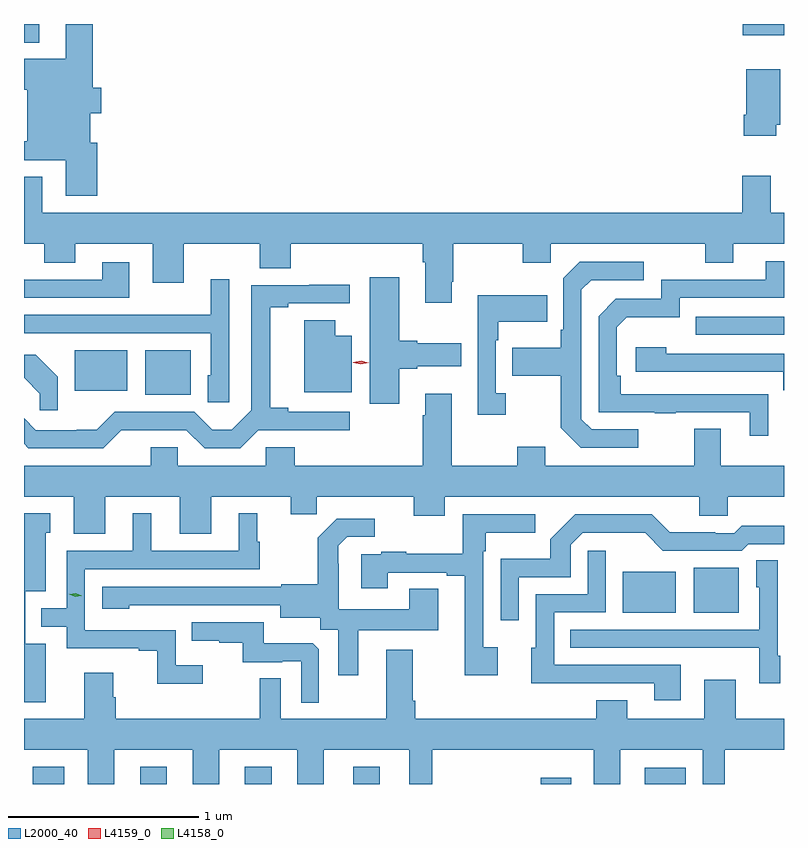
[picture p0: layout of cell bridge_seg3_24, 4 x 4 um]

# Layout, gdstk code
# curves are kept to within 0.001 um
import gdstk
lib = gdstk.Library(unit=1e-6, precision=1e-09)
def R(c, l, rs):  # rectangles x0, y0, x1, y1
    for r in rs: c.add(gdstk.rectangle(r[:2], r[2:], *l))
def P(c, l, *ps):  # polygons
    for p in ps: c.add(gdstk.Polygon(p, *l))
L2000_40 = (2000, 40)
L4158_0 = (4158, 0)
L4159_0 = (4159, 0)

bridge_seg3_24 = lib.new_cell('bridge_seg3_24')
R(bridge_seg3_24, L2000_40, [(721.253,739.365,721.417,739.456), (721.817,739.365,721.957,739.456), (722.369,739.365,722.509,739.456), (722.939,739.365,723.079,739.456), (723.926,739.365,724.087,739.399), (724.473,739.365,724.69,739.45), (724.358,740.267,724.636,740.482), (724.73,740.267,724.969,740.503), (721.844,741.413,722.083,741.649), (721.472,741.434,721.75,741.649), (724.741,741.729,725.206,741.825), (721.206,743.267,721.285,743.365), (724.989,743.307,725.206,743.365)])
P(bridge_seg3_24, L2000_40, [(721.592,742.74),(721.555,742.74),(721.555,742.895),(721.612,742.895),(721.612,743.03),(721.568,743.03),(721.568,743.365),(721.427,743.365),(721.427,743.182),(721.206,743.182),(721.206,743.018),(721.223,743.018),(721.223,742.748),(721.206,742.748),(721.206,742.647),(721.427,742.647),(721.427,742.461),(721.592,742.461)],
  [(725.164,742.836),(725.185,742.836),(725.185,743.128),(725.006,743.128),(725.006,742.888),(724.994,742.888),(724.994,742.776),(725.164,742.776)],
  [(721.303,742.562),(721.206,742.562),(721.206,742.208),(721.313,742.208),(721.313,742.109),(721.477,742.109),(721.477,742.208),(721.883,742.208),(721.883,742.002),(722.047,742.002),(722.047,742.208),(722.447,742.208),(722.447,742.08),(722.611,742.08),(722.611,742.208),(723.305,742.208),(723.305,742.112),(723.317,742.112),(723.317,741.897),(723.457,741.897),(723.457,742.009),(723.465,742.009),(723.465,742.208),(723.832,742.208),(723.832,742.109),(723.978,742.109),(723.978,742.208),(724.792,742.208),(724.792,742.109),(724.939,742.109),(724.939,742.208),(725.206,742.208),(725.206,742.372),(725.137,742.372),(725.137,742.567),(724.985,742.567),(724.985,742.372),(721.303,742.372)],
  [(725.123,741.416),(724.346,741.417),(724.346,741.514),(724.326,741.514),(724.326,741.768),(724.379,741.821),(724.656,741.821),(724.656,741.924),(725.206,741.924),(725.206,742.116),(725.111,742.116),(725.111,742.02),(724.56,742.02),(724.56,741.918),(724.32,741.918),(724.23,741.828),(724.23,741.321),(724.525,741.321),(724.525,741.316),(724.637,741.316),(724.637,741.321),(725.027,741.321),(725.027,741.198),(725.123,741.198)],
  [(724.438,741.231),(724.194,741.231),(724.14,741.285),(724.14,741.966),(724.191,742.017),(724.468,742.017),(724.468,742.113),(724.131,742.113),(724.044,742.026),(724.044,741.757),(724.032,741.757),(724.032,741.661),(723.775,741.661),(723.775,741.514),(724.032,741.514),(724.032,741.241),(724.137,741.135),(724.438,741.135)],
  [(721.759,742.111),(721.619,742.111),(721.619,742.02),(721.207,742.02),(721.207,742.022),(721.206,742.022),(721.206,741.924),(721.759,741.924)],
  [(723.181,741.551),(723.277,741.551),(723.277,741.563),(723.508,741.563),(723.508,741.685),(723.277,741.685),(723.277,741.698),(723.181,741.698),(723.181,742.033),(723.026,742.033),(723.026,741.366),(723.181,741.366)],
  [(722.286,742.021),(722.189,742.021),(722.189,741.835),(721.855,741.835),(721.855,741.834),(721.206,741.834),(721.206,741.738),(722.19,741.738),(722.19,741.516),(722.174,741.516),(722.174,741.373),(722.286,741.373)],
  [(721.718,741.227),(722.061,741.228),(722.157,741.132),(722.344,741.132),(722.44,741.228),(722.92,741.227),(722.92,741.324),(722.596,741.324),(722.596,741.344),(722.501,741.344),(722.501,741.874),(722.596,741.874),(722.596,741.894),(722.92,741.894),(722.92,741.992),(722.707,741.992),(722.707,741.99),(722.403,741.99),(722.403,741.333),(722.299,741.229),(722.198,741.229),(722.103,741.324),(721.683,741.324),(721.589,741.23),(721.484,741.23),(721.484,741.228),(721.269,741.228),(721.206,741.291),(721.206,741.155),(721.229,741.132),(721.623,741.132)],
  [(723.742,741.422),(723.69,741.422),(723.69,741.701),(723.703,741.701),(723.703,741.797),(723.959,741.797),(723.959,741.937),(723.594,741.937),(723.594,741.309),(723.742,741.309)],
  [(722.932,741.724),(722.845,741.724),(722.845,741.805),(722.681,741.805),(722.681,741.428),(722.932,741.428)],
  [(725.206,741.63),(724.586,741.63),(724.586,741.664),(724.425,741.664),(724.425,741.534),(725.201,741.534),(725.201,741.437),(725.206,741.437)],
  [(721.383,741.508),(721.267,741.624),(721.206,741.624),(721.206,741.502),(721.288,741.42),(721.288,741.333),(721.383,741.333)],
  [(721.633,740.876),(722.027,740.876),(722.027,740.682),(722.191,740.682),(722.191,740.876),(722.609,740.876),(722.609,740.786),(722.747,740.786),(722.747,740.876),(723.257,740.876),(723.257,740.777),(723.421,740.777),(723.421,740.876),(724.76,740.876),(724.76,740.778),(724.911,740.778),(724.911,740.876),(725.206,740.876),(725.206,741.04),(724.873,741.04),(724.873,741.235),(724.733,741.235),(724.733,741.04),(723.949,741.04),(723.949,741.139),(723.802,741.139),(723.802,741.04),(723.457,741.04),(723.457,741.418),(723.317,741.418),(723.317,741.305),(723.305,741.305),(723.305,741.04),(722.63,741.04),(722.63,741.138),(722.478,741.138),(722.478,741.04),(722.016,741.04),(722.016,741.138),(721.874,741.138),(721.874,741.04),(721.206,741.04),(721.206,740.876),(721.469,740.876),(721.469,740.682),(721.633,740.682)],
  [(721.321,740.103),(721.212,740.103),(721.212,740.379),(721.321,740.379),(721.321,740.688),(721.345,740.688),(721.345,740.791),(721.206,740.791),(721.206,739.794),(721.321,739.794)],
  [(722.146,739.99),(722.004,739.99),(722.004,740.175),(721.527,740.175),(721.527,740.496),(722.446,740.496),(722.446,740.64),(722.434,740.64),(722.434,740.791),(722.336,740.791),(722.336,740.592),(721.876,740.592),(721.876,740.791),(721.778,740.791),(721.778,740.592),(721.431,740.592),(721.431,740.289),(721.298,740.289),(721.298,740.193),(721.431,740.193),(721.431,740.079),(721.811,740.079),(721.811,740.067),(721.906,740.067),(721.906,739.892),(722.146,739.892)],
  [(723.81,740.454),(724.083,740.454),(724.083,740.625),(724.146,740.688),(724.475,740.687),(724.569,740.592),(724.983,740.592),(725.019,740.628),(725.206,740.628),(725.206,740.725),(724.984,740.725),(724.944,740.685),(724.844,740.685),(724.844,740.69),(724.604,740.69),(724.509,740.784),(724.106,740.784),(723.976,740.654),(723.976,740.551),(723.714,740.551),(723.714,740.226),(723.81,740.226)],
  [(723.7,740.086),(723.624,740.086),(723.624,740.591),(723.637,740.591),(723.637,740.687),(723.898,740.687),(723.898,740.784),(723.516,740.784),(723.516,740.576),(723.217,740.576),(723.217,740.587),(723.085,740.587),(723.085,740.574),(722.981,740.574),(722.981,740.394),(723.121,740.394),(723.121,740.478),(723.431,740.478),(723.431,740.46),(723.527,740.46),(723.527,739.938),(723.7,739.938)],
  [(722.965,740.174),(723.385,740.174),(723.385,740.393),(723.233,740.393),(723.233,740.284),(722.862,740.284),(722.862,740.525),(722.86,740.525),(722.86,740.62),(722.907,740.667),(723.052,740.667),(723.052,740.761),(722.851,740.761),(722.751,740.661),(722.751,740.416),(722.559,740.416),(722.559,740.403),(721.617,740.403),(721.617,740.288),(721.761,740.288),(721.761,740.306),(722.555,740.307),(722.555,740.24),(722.766,740.24),(722.766,740.176),(722.861,740.176),(722.861,739.938),(722.965,739.938)],
  [(724.663,739.992),(723.996,739.992),(723.996,740.268),(724.269,740.268),(724.269,740.593),(724.173,740.593),(724.173,740.364),(723.9,740.364),(723.9,740.082),(723.875,740.082),(723.875,739.895),(724.093,739.895),(724.093,739.896),(724.523,739.896),(724.523,739.806),(724.663,739.806)],
  [(725.185,740.04),(725.172,740.04),(725.172,740.543),(725.06,740.543),(725.06,740.4),(725.076,740.4),(725.076,740.178),(724.081,740.178),(724.081,740.082),(724.759,740.082),(724.759,740.081),(725.076,740.081),(725.076,739.896),(725.185,739.896)],
  [(722.757,740.073),(722.725,740.105),(722.467,740.105),(722.467,740.217),(722.089,740.217),(722.089,740.12),(722.233,740.12),(722.233,740.109),(722.357,740.109),(722.357,740.007),(722.564,740.007),(722.564,740.01),(722.664,740.01),(722.664,739.793),(722.757,739.793)],
  [(721.681,739.544),(722.093,739.544),(722.093,739.365),(722.233,739.365),(722.233,739.544),(722.645,739.544),(722.645,739.365),(722.784,739.365),(722.784,739.544),(723.233,739.544),(723.233,739.365),(723.355,739.365),(723.355,739.544),(724.205,739.544),(724.205,739.365),(724.345,739.365),(724.345,739.544),(724.779,739.544),(724.779,739.365),(724.895,739.365),(724.895,739.544),(725.206,739.544),(725.206,739.708),(724.951,739.708),(724.951,739.915),(724.787,739.915),(724.787,739.708),(724.381,739.708),(724.381,739.807),(724.217,739.807),(724.217,739.708),(723.266,739.708),(723.266,739.804),(723.253,739.804),(723.253,740.071),(723.113,740.071),(723.113,739.708),(722.556,739.708),(722.556,739.922),(722.448,739.922),(722.448,739.708),(721.688,739.708),(721.688,739.821),(721.675,739.821),(721.675,739.951),(721.523,739.951),(721.523,739.708),(721.206,739.708),(721.206,739.544),(721.541,739.544),(721.541,739.365),(721.681,739.365)])
P(bridge_seg3_24, L4158_0, [(721.476,740.35),(721.443,740.363),(721.442,740.363),(721.443,740.363),(721.478,740.37),(721.511,740.357),(721.511,740.357),(721.511,740.357)])
P(bridge_seg3_24, L4159_0, [(722.979,741.573),(722.939,741.583),(722.938,741.583),(722.939,741.584),(722.98,741.593),(723.02,741.582),(723.02,741.582),(723.02,741.582)])

lib.write_gds('bridge_seg3_24.gds')
